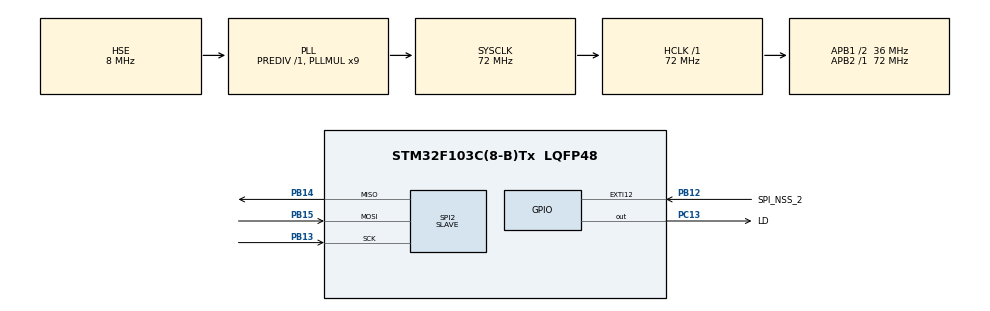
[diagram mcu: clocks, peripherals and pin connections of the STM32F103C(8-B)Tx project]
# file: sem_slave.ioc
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Mcu.Family=STM32F1
Mcu.Name=STM32F103C(8-B)Tx
Mcu.Package=LQFP48
NVIC.EXTI15_10_IRQn=true\:0\:0\:false\:false\:true\:true\:true\:true
NVIC.PriorityGroup=NVIC_PRIORITYGROUP_4
NVIC.SPI2_IRQn=true\:0\:0\:false\:false\:true\:true\:true\:true
PA13.Mode=Serial_Wire
PA13.Signal=SYS_JTMS-SWDIO
PA14.Mode=Serial_Wire
PA14.Signal=SYS_JTCK-SWCLK
PB12.GPIO_Label=SPI_NSS_2
PB12.GPIO_ModeDefaultEXTI=GPIO_MODE_IT_RISING_FALLING
PB12.Signal=GPXTI12
PB13.Mode=Full_Duplex_Slave
PB13.Signal=SPI2_SCK
PB14.Mode=Full_Duplex_Slave
PB14.Signal=SPI2_MISO
PB15.Mode=Full_Duplex_Slave
PB15.Signal=SPI2_MOSI
PC13-TAMPER-RTC.GPIO_Label=LD
PC13-TAMPER-RTC.Signal=GPIO_Output
PD0-OSC_IN.Mode=HSE-External-Oscillator
PD0-OSC_IN.Signal=RCC_OSC_IN
PD1-OSC_OUT.Mode=HSE-External-Oscillator
PD1-OSC_OUT.Signal=RCC_OSC_OUT
ProjectManager.HeapSize=0x200
ProjectManager.StackSize=0x400
ProjectManager.TargetToolchain=STM32CubeIDE
RCC.AHBFreq_Value=72000000
RCC.APB1CLKDivider=RCC_HCLK_DIV2
RCC.APB1Freq_Value=36000000
RCC.APB1TimFreq_Value=72000000
RCC.APB2Freq_Value=72000000
RCC.APB2TimFreq_Value=72000000
RCC.HCLKFreq_Value=72000000
RCC.PLLMUL=RCC_PLL_MUL9
RCC.PLLSourceVirtual=RCC_PLLSOURCE_HSE
RCC.SYSCLKFreq_VALUE=72000000
RCC.SYSCLKSource=RCC_SYSCLKSOURCE_PLLCLK
RCC.USBFreq_Value=72000000
SPI2.CRCCalculation=SPI_CRCCALCULATION_ENABLE
SPI2.Direction=SPI_DIRECTION_2LINES
SPI2.Mode=SPI_MODE_SLAVE
SPI2.VirtualType=VM_SLAVE
VP_CRC_VS_CRC.Mode=CRC_Activate
board=custom

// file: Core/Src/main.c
/* USER CODE BEGIN Header */
/**
 ******************************************************************************
 * @file           : main.c
 * @brief          : Main program body
 ******************************************************************************
 * @attention
 *
 * Copyright (c) 2023 STMicroelectronics.
 * All rights reserved.
 *
 * This software is licensed under terms that can be found in the LICENSE file
 * in the root directory of this software component.
 * If no LICENSE file comes with this software, it is provided AS-IS.
 *
 ******************************************************************************
 */
/* USER CODE END Header */
#include "main.h"

CRC_HandleTypeDef hcrc;

SPI_HandleTypeDef hspi2;

/* USER CODE BEGIN PV */
int32_t slave_transmit[6];
int32_t slave_receive[6];

int flag_nss;
int nss_cond;
/* USER CODE END PV */

void SystemClock_Config(void);
static void MX_GPIO_Init(void);
static void MX_CRC_Init(void);
static void MX_SPI2_Init(void);

/* USER CODE BEGIN 0 */
void HAL_GPIO_EXTI_Callback(uint16_t GPIO_Pin) {
	if (GPIO_Pin == SPI_NSS_2_Pin) {
		if (HAL_GPIO_ReadPin(SPI_NSS_2_GPIO_Port, SPI_NSS_2_Pin)
				== GPIO_PIN_RESET) {
			flag_nss = 0;
			HAL_SPI_TransmitReceive_IT(&hspi2, (uint8_t*) slave_transmit,
					(uint8_t*) slave_receive, 24);
		}
		if (HAL_GPIO_ReadPin(SPI_NSS_2_GPIO_Port, SPI_NSS_2_Pin)
				== GPIO_PIN_SET) {
			flag_nss = 1;
			HAL_SPI_Abort(&hspi2);
		}
	}
}
/* USER CODE END 0 */

int main(void) {

	/* MCU Configuration--------------------------------------------------------*/

	/* Reset of all peripherals, Initializes the Flash interface and the Systick. */
	HAL_Init();

	/* Configure the system clock */
	SystemClock_Config();

	/* Initialize all configured peripherals */
	MX_GPIO_Init();
	MX_CRC_Init();
	MX_SPI2_Init();
	/* USER CODE BEGIN 2 */
	slave_transmit[0] = 0xAAAAAAAA;
	slave_transmit[1] = 0xBBBBBBBB;
	slave_transmit[2] = 0xCCCCCCCC;
	slave_transmit[3] = 0xDDDDDDDD;
	slave_transmit[4] = 0xEEEEEEEE;
	slave_transmit[5] = 0xFFFFFFFF;
	/* USER CODE END 2 */

	/* Infinite loop */
	/* USER CODE BEGIN WHILE */
	while (1) {
//		nss_cond = HAL_GPIO_ReadPin(SPI_NSS_2_GPIO_Port, SPI_NSS_2_Pin);
//		if (HAL_GPIO_ReadPin(SPI_NSS_2_GPIO_Port, SPI_NSS_2_Pin) == 0) {
//			HAL_SPI_TransmitReceive_IT(&hspi2, (uint8_t*) (slave_transmit),
//					(uint8_t*) (slave_receive), 24);
//			while (HAL_GPIO_ReadPin(SPI_NSS_2_GPIO_Port, SPI_NSS_2_Pin) == 1) {
//
//			}
//			HAL_SPI_Abort(&hspi2);
//		}
		/* USER CODE END WHILE */

	}
}

void SystemClock_Config(void) {
	RCC_OscInitTypeDef RCC_OscInitStruct = { 0 };
	RCC_ClkInitTypeDef RCC_ClkInitStruct = { 0 };

	/** Initializes the RCC Oscillators according to the specified parameters
	 * in the RCC_OscInitTypeDef structure.
	 */
	RCC_OscInitStruct.OscillatorType = RCC_OSCILLATORTYPE_HSE;
	RCC_OscInitStruct.HSEState = RCC_HSE_ON;
	RCC_OscInitStruct.HSEPredivValue = RCC_HSE_PREDIV_DIV1;
	RCC_OscInitStruct.HSIState = RCC_HSI_ON;
	RCC_OscInitStruct.PLL.PLLState = RCC_PLL_ON;
	RCC_OscInitStruct.PLL.PLLSource = RCC_PLLSOURCE_HSE;
	RCC_OscInitStruct.PLL.PLLMUL = RCC_PLL_MUL9;
	if (HAL_RCC_OscConfig(&RCC_OscInitStruct) != HAL_OK) {
		Error_Handler();
	}

	/** Initializes the CPU, AHB and APB buses clocks
	 */
	RCC_ClkInitStruct.ClockType = RCC_CLOCKTYPE_HCLK | RCC_CLOCKTYPE_SYSCLK
			| RCC_CLOCKTYPE_PCLK1 | RCC_CLOCKTYPE_PCLK2;
	RCC_ClkInitStruct.SYSCLKSource = RCC_SYSCLKSOURCE_PLLCLK;
	RCC_ClkInitStruct.AHBCLKDivider = RCC_SYSCLK_DIV1;
	RCC_ClkInitStruct.APB1CLKDivider = RCC_HCLK_DIV2;
	RCC_ClkInitStruct.APB2CLKDivider = RCC_HCLK_DIV1;

	if (HAL_RCC_ClockConfig(&RCC_ClkInitStruct, FLASH_LATENCY_2) != HAL_OK) {
		Error_Handler();
	}
}

static void MX_CRC_Init(void) {

	hcrc.Instance = CRC;
	if (HAL_CRC_Init(&hcrc) != HAL_OK) {
		Error_Handler();
	}

}

static void MX_SPI2_Init(void) {

	/* SPI2 parameter configuration*/
	hspi2.Instance = SPI2;
	hspi2.Init.Mode = SPI_MODE_SLAVE;
	hspi2.Init.Direction = SPI_DIRECTION_2LINES;
	hspi2.Init.DataSize = SPI_DATASIZE_8BIT;
	hspi2.Init.CLKPolarity = SPI_POLARITY_LOW;
	hspi2.Init.CLKPhase = SPI_PHASE_1EDGE;
	hspi2.Init.NSS = SPI_NSS_SOFT;
	hspi2.Init.FirstBit = SPI_FIRSTBIT_MSB;
	hspi2.Init.TIMode = SPI_TIMODE_DISABLE;
	hspi2.Init.CRCCalculation = SPI_CRCCALCULATION_ENABLE;
	hspi2.Init.CRCPolynomial = 10;
	if (HAL_SPI_Init(&hspi2) != HAL_OK) {
		Error_Handler();
	}

}

static void MX_GPIO_Init(void) {
	GPIO_InitTypeDef GPIO_InitStruct = { 0 };

	/* GPIO Ports Clock Enable */
	__HAL_RCC_GPIOC_CLK_ENABLE();
	__HAL_RCC_GPIOD_CLK_ENABLE();
	__HAL_RCC_GPIOB_CLK_ENABLE();
	__HAL_RCC_GPIOA_CLK_ENABLE();

	/*Configure GPIO pin Output Level */
	HAL_GPIO_WritePin(LD_GPIO_Port, LD_Pin, GPIO_PIN_RESET);

	/*Configure GPIO pin : LD_Pin */
	GPIO_InitStruct.Pin = LD_Pin;
	GPIO_InitStruct.Mode = GPIO_MODE_OUTPUT_PP;
	GPIO_InitStruct.Pull = GPIO_NOPULL;
	GPIO_InitStruct.Speed = GPIO_SPEED_FREQ_LOW;
	HAL_GPIO_Init(LD_GPIO_Port, &GPIO_InitStruct);

	/*Configure GPIO pin : SPI_NSS_2_Pin */
	GPIO_InitStruct.Pin = SPI_NSS_2_Pin;
	GPIO_InitStruct.Mode = GPIO_MODE_IT_RISING_FALLING;
	GPIO_InitStruct.Pull = GPIO_NOPULL;
	HAL_GPIO_Init(SPI_NSS_2_GPIO_Port, &GPIO_InitStruct);

	/* EXTI interrupt init*/
	HAL_NVIC_SetPriority(EXTI15_10_IRQn, 0, 0);
	HAL_NVIC_EnableIRQ(EXTI15_10_IRQn);

}

void Error_Handler(void) {
	__disable_irq();
	while (1) {
	}
}
